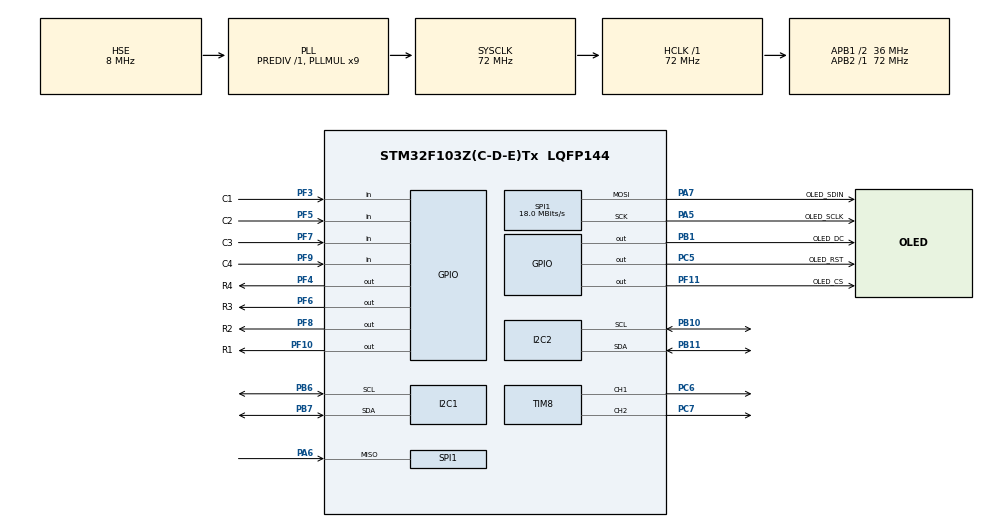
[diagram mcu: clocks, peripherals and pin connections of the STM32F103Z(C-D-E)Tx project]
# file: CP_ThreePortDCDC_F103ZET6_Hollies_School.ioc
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Mcu.Family=STM32F1
Mcu.Name=STM32F103Z(C-D-E)Tx
Mcu.Package=LQFP144
NVIC.PriorityGroup=NVIC_PRIORITYGROUP_4
NVIC.TIM1_UP_IRQn=true\:0\:0\:false\:false\:true\:true\:true\:true
OSC_IN.Mode=HSE-External-Oscillator
OSC_IN.Signal=RCC_OSC_IN
OSC_OUT.Mode=HSE-External-Oscillator
OSC_OUT.Signal=RCC_OSC_OUT
PA13.Mode=Serial_Wire
PA13.Signal=SYS_JTMS-SWDIO
PA14.Mode=Serial_Wire
PA14.Signal=SYS_JTCK-SWCLK
PA5.GPIO_Label=OLED_SCLK
PA5.Mode=Full_Duplex_Master
PA5.Signal=SPI1_SCK
PA6.Mode=Full_Duplex_Master
PA6.Signal=SPI1_MISO
PA7.GPIO_Label=OLED_SDIN
PA7.Mode=Full_Duplex_Master
PA7.Signal=SPI1_MOSI
PB1.GPIO_Label=OLED_DC
PB1.Signal=GPIO_Output
PB10.Mode=I2C
PB10.Signal=I2C2_SCL
PB11.Mode=I2C
PB11.Signal=I2C2_SDA
PB6.Mode=I2C
PB6.Signal=I2C1_SCL
PB7.Mode=I2C
PB7.Signal=I2C1_SDA
PC14-OSC32_IN.Mode=LSE-External-Oscillator
PC14-OSC32_IN.Signal=RCC_OSC32_IN
PC15-OSC32_OUT.Mode=LSE-External-Oscillator
PC15-OSC32_OUT.Signal=RCC_OSC32_OUT
PC5.GPIO_Label=OLED_RST
PC5.Signal=GPIO_Output
PC6.Signal=S_TIM8_CH1
PC7.Signal=S_TIM8_CH2
PF10.GPIO_Label=R1
PF10.Signal=GPIO_Output
PF11.GPIO_Label=OLED_CS
PF11.Signal=GPIO_Output
PF3.GPIO_Label=C1
PF3.GPIO_PuPd=GPIO_PULLUP
PF3.Signal=GPIO_Input
PF4.GPIO_Label=R4
PF4.Signal=GPIO_Output
PF5.GPIO_Label=C2
PF5.GPIO_PuPd=GPIO_PULLUP
PF5.Signal=GPIO_Input
PF6.GPIO_Label=R3
PF6.Signal=GPIO_Output
PF7.GPIO_Label=C3
PF7.GPIO_PuPd=GPIO_PULLUP
PF7.Signal=GPIO_Input
PF8.GPIO_Label=R2
PF8.Signal=GPIO_Output
PF9.GPIO_Label=C4
PF9.GPIO_PuPd=GPIO_PULLUP
PF9.Signal=GPIO_Input
ProjectManager.HeapSize=0x200
ProjectManager.StackSize=0x400
ProjectManager.TargetToolchain=STM32CubeIDE
RCC.AHBFreq_Value=72000000
RCC.APB1CLKDivider=RCC_HCLK_DIV2
RCC.APB1Freq_Value=36000000
RCC.APB1TimFreq_Value=72000000
RCC.APB2Freq_Value=72000000
RCC.APB2TimFreq_Value=72000000
RCC.HCLKFreq_Value=72000000
RCC.PLLMUL=RCC_PLL_MUL9
RCC.PLLSourceVirtual=RCC_PLLSOURCE_HSE
RCC.SYSCLKFreq_VALUE=72000000
RCC.SYSCLKSource=RCC_SYSCLKSOURCE_PLLCLK
RCC.USBFreq_Value=72000000
SH.S_TIM8_CH1.0=TIM8_CH1,PWM Generation1 CH1
SH.S_TIM8_CH2.0=TIM8_CH2,PWM Generation2 CH2
SPI1.BaudRatePrescaler=SPI_BAUDRATEPRESCALER_4
SPI1.CalculateBaudRate=18.0 MBits/s
SPI1.Direction=SPI_DIRECTION_2LINES
SPI1.Mode=SPI_MODE_MASTER
SPI1.VirtualType=VM_MASTER
TIM1.Period=72000000/10000-1
TIM1.Prescaler=500-1
TIM8.Channel-PWM\ Generation1\ CH1=TIM_CHANNEL_1
TIM8.Channel-PWM\ Generation2\ CH2=TIM_CHANNEL_2
TIM8.Period=72000000/20000-1
TIM8.Pulse-PWM\ Generation1\ CH1=1800
TIM8.Pulse-PWM\ Generation2\ CH2=1800
VP_TIM1_VS_ClockSourceINT.Mode=Internal
VP_TIM8_VS_ClockSourceINT.Mode=Internal
board=custom

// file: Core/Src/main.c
/* USER CODE BEGIN Header */
/**
 ******************************************************************************
 * @file           : main.c
 * @brief          : Main program body
 ******************************************************************************
 * @attention
 *
 * Copyright (c) 2023 STMicroelectronics.
 * All rights reserved.
 *
 * This software is licensed under terms that can be found in the LICENSE file
 * in the root directory of this software component.
 * If no LICENSE file comes with this software, it is provided AS-IS.
 *
 ******************************************************************************
 */
/* USER CODE END Header */
#include "main.h"

/* USER CODE BEGIN Includes */
#include "oled_spi.h"
#include "keyboard.h"
#include "pid.h"
#include "stdio.h"
#include "ADS1115.h"
#include "math.h"
/* USER CODE END Includes */

I2C_HandleTypeDef hi2c1;
I2C_HandleTypeDef hi2c2;

SPI_HandleTypeDef hspi1;

TIM_HandleTypeDef htim1;
TIM_HandleTypeDef htim8;

void SystemClock_Config(void);
static void MX_GPIO_Init(void);
static void MX_SPI1_Init(void);
static void MX_TIM1_Init(void);
static void MX_TIM8_Init(void);
static void MX_I2C1_Init(void);
static void MX_I2C2_Init(void);

/* USER CODE BEGIN 0 */
//串口相关变量
uint8_t str_stuff[64] = "0";
uint32_t dma_buffer[1];
//pid变量
//PID_TypeDef pid1;	//电源侧pid
//PID pid2;	//电池侧pid
//ads1115采样值变�???????????
double V1IN = 0, VSIN = 0, VOUT = 0, ERR = 0, Target = 30.0;
//按键功能
void keyboard_function()
{
	switch (KEY_SCAN())
	{
	case 1:
		HAL_TIM_Base_Start_IT(&htim1);
		break;
	case 2:
		break;
	case 3:
		break;
	case 4:
		break;
	case 5:
		break;
	case 6:
		break;
	case 7:
		break;
	case 8:
		break;
	case 9:
		break;
	case 10:
		break;
	case 11:
		Target-=0.5;
		break;
	case 12:
		Target+=0.5;
		break;
	case 13:
		ERR+=0.01;
		break;
	case 14:
		ERR+=0.1;
		break;
	case 15:
		ERR-=0.1;
		break;
	case 16:
		ERR-=0.01;
		break;
	}
}
//显示
void oled_show()
{
	OLED_Clear();
	//电源侧显示当前计数�?�及占空�????????????
	uint32_t i = __HAL_TIM_GET_COMPARE(&htim8, TIM_CHANNEL_1);
	OLED_ShowNum(0, 0, i, 4, 16);
	OLED_ShowNum(40, 0, i * 100.0 / 3600, 4, 16);
	//电池侧显示当前计数�?�及占空�????????????
	i = __HAL_TIM_GET_COMPARE(&htim8, TIM_CHANNEL_2);
	OLED_ShowNum(0, 2, i, 4, 16);
	OLED_ShowNum(40, 2, i * 100.0 / 3600, 4, 16);
	//显示当前采样�????
	OLED_ShowNum(0, 4, V1IN*1000, 5, 16);	//U1
	OLED_ShowNum(0, 6, VOUT*1000, 5, 16);	//Uo
	OLED_ShowNum(50, 6, VSIN*1000, 5, 16);	//Us

}
/* USER CODE END 0 */

int main(void)
{

  /* MCU Configuration--------------------------------------------------------*/

  /* Reset of all peripherals, Initializes the Flash interface and the Systick. */
  HAL_Init();

  /* Configure the system clock */
  SystemClock_Config();

  /* Initialize all configured peripherals */
  MX_GPIO_Init();
  MX_SPI1_Init();
  MX_TIM1_Init();
  MX_TIM8_Init();
  MX_I2C1_Init();
  MX_I2C2_Init();
  /* USER CODE BEGIN 2 */
	HAL_TIM_PWM_Start(&htim8, TIM_CHANNEL_1);
	HAL_TIM_PWM_Start(&htim8, TIM_CHANNEL_2);

	PID_Init();
	OLED_Init();
	OLED_Display_On();
  /* USER CODE END 2 */

  /* Infinite loop */
	while (1)
	{

    /* USER CODE BEGIN 3 */
		keyboard_function();
		oled_show();
		V1IN = (ads1115_get_voltage_val(hi2c1, 0x01, CONFIG0_REG_H,
				CONFIG0_REG_L) * 21.26);
		VSIN = (ads1115_get_voltage_val(hi2c1, 0x01, CONFIG1_REG_H,
				CONFIG1_REG_L) * 21.12);
		VOUT = (ads1115_get_voltage_val(hi2c2, 0x01, CONFIG0_REG_H,
				CONFIG0_REG_L) * 21.39);
	}
  /* USER CODE END 3 */
}

void SystemClock_Config(void)
{
  RCC_OscInitTypeDef RCC_OscInitStruct = {0};
  RCC_ClkInitTypeDef RCC_ClkInitStruct = {0};

  /** Initializes the RCC Oscillators according to the specified parameters
  * in the RCC_OscInitTypeDef structure.
  */
  RCC_OscInitStruct.OscillatorType = RCC_OSCILLATORTYPE_HSE;
  RCC_OscInitStruct.HSEState = RCC_HSE_ON;
  RCC_OscInitStruct.HSEPredivValue = RCC_HSE_PREDIV_DIV1;
  RCC_OscInitStruct.HSIState = RCC_HSI_ON;
  RCC_OscInitStruct.PLL.PLLState = RCC_PLL_ON;
  RCC_OscInitStruct.PLL.PLLSource = RCC_PLLSOURCE_HSE;
  RCC_OscInitStruct.PLL.PLLMUL = RCC_PLL_MUL9;
  if (HAL_RCC_OscConfig(&RCC_OscInitStruct) != HAL_OK)
  {
    Error_Handler();
  }

  /** Initializes the CPU, AHB and APB buses clocks
  */
  RCC_ClkInitStruct.ClockType = RCC_CLOCKTYPE_HCLK|RCC_CLOCKTYPE_SYSCLK
                              |RCC_CLOCKTYPE_PCLK1|RCC_CLOCKTYPE_PCLK2;
  RCC_ClkInitStruct.SYSCLKSource = RCC_SYSCLKSOURCE_PLLCLK;
  RCC_ClkInitStruct.AHBCLKDivider = RCC_SYSCLK_DIV1;
  RCC_ClkInitStruct.APB1CLKDivider = RCC_HCLK_DIV2;
  RCC_ClkInitStruct.APB2CLKDivider = RCC_HCLK_DIV1;

  if (HAL_RCC_ClockConfig(&RCC_ClkInitStruct, FLASH_LATENCY_2) != HAL_OK)
  {
    Error_Handler();
  }
}

static void MX_I2C1_Init(void)
{

  hi2c1.Instance = I2C1;
  hi2c1.Init.ClockSpeed = 100000;
  hi2c1.Init.DutyCycle = I2C_DUTYCYCLE_2;
  hi2c1.Init.OwnAddress1 = 0;
  hi2c1.Init.AddressingMode = I2C_ADDRESSINGMODE_7BIT;
  hi2c1.Init.DualAddressMode = I2C_DUALADDRESS_DISABLE;
  hi2c1.Init.OwnAddress2 = 0;
  hi2c1.Init.GeneralCallMode = I2C_GENERALCALL_DISABLE;
  hi2c1.Init.NoStretchMode = I2C_NOSTRETCH_DISABLE;
  if (HAL_I2C_Init(&hi2c1) != HAL_OK)
  {
    Error_Handler();
  }

}

static void MX_I2C2_Init(void)
{

  hi2c2.Instance = I2C2;
  hi2c2.Init.ClockSpeed = 100000;
  hi2c2.Init.DutyCycle = I2C_DUTYCYCLE_2;
  hi2c2.Init.OwnAddress1 = 0;
  hi2c2.Init.AddressingMode = I2C_ADDRESSINGMODE_7BIT;
  hi2c2.Init.DualAddressMode = I2C_DUALADDRESS_DISABLE;
  hi2c2.Init.OwnAddress2 = 0;
  hi2c2.Init.GeneralCallMode = I2C_GENERALCALL_DISABLE;
  hi2c2.Init.NoStretchMode = I2C_NOSTRETCH_DISABLE;
  if (HAL_I2C_Init(&hi2c2) != HAL_OK)
  {
    Error_Handler();
  }

}

static void MX_SPI1_Init(void)
{

  /* SPI1 parameter configuration*/
  hspi1.Instance = SPI1;
  hspi1.Init.Mode = SPI_MODE_MASTER;
  hspi1.Init.Direction = SPI_DIRECTION_2LINES;
  hspi1.Init.DataSize = SPI_DATASIZE_8BIT;
  hspi1.Init.CLKPolarity = SPI_POLARITY_LOW;
  hspi1.Init.CLKPhase = SPI_PHASE_1EDGE;
  hspi1.Init.NSS = SPI_NSS_SOFT;
  hspi1.Init.BaudRatePrescaler = SPI_BAUDRATEPRESCALER_4;
  hspi1.Init.FirstBit = SPI_FIRSTBIT_MSB;
  hspi1.Init.TIMode = SPI_TIMODE_DISABLE;
  hspi1.Init.CRCCalculation = SPI_CRCCALCULATION_DISABLE;
  hspi1.Init.CRCPolynomial = 10;
  if (HAL_SPI_Init(&hspi1) != HAL_OK)
  {
    Error_Handler();
  }

}

static void MX_TIM1_Init(void)
{

  TIM_ClockConfigTypeDef sClockSourceConfig = {0};
  TIM_MasterConfigTypeDef sMasterConfig = {0};

  htim1.Instance = TIM1;
  htim1.Init.Prescaler = 500-1;
  htim1.Init.CounterMode = TIM_COUNTERMODE_UP;
  htim1.Init.Period = 72000000/10000-1;
  htim1.Init.ClockDivision = TIM_CLOCKDIVISION_DIV1;
  htim1.Init.RepetitionCounter = 0;
  htim1.Init.AutoReloadPreload = TIM_AUTORELOAD_PRELOAD_DISABLE;
  if (HAL_TIM_Base_Init(&htim1) != HAL_OK)
  {
    Error_Handler();
  }
  sClockSourceConfig.ClockSource = TIM_CLOCKSOURCE_INTERNAL;
  if (HAL_TIM_ConfigClockSource(&htim1, &sClockSourceConfig) != HAL_OK)
  {
    Error_Handler();
  }
  sMasterConfig.MasterOutputTrigger = TIM_TRGO_RESET;
  sMasterConfig.MasterSlaveMode = TIM_MASTERSLAVEMODE_DISABLE;
  if (HAL_TIMEx_MasterConfigSynchronization(&htim1, &sMasterConfig) != HAL_OK)
  {
    Error_Handler();
  }

}

static void MX_TIM8_Init(void)
{

  TIM_ClockConfigTypeDef sClockSourceConfig = {0};
  TIM_MasterConfigTypeDef sMasterConfig = {0};
  TIM_OC_InitTypeDef sConfigOC = {0};
  TIM_BreakDeadTimeConfigTypeDef sBreakDeadTimeConfig = {0};

  htim8.Instance = TIM8;
  htim8.Init.Prescaler = 0;
  htim8.Init.CounterMode = TIM_COUNTERMODE_UP;
  htim8.Init.Period = 72000000/20000-1;
  htim8.Init.ClockDivision = TIM_CLOCKDIVISION_DIV1;
  htim8.Init.RepetitionCounter = 0;
  htim8.Init.AutoReloadPreload = TIM_AUTORELOAD_PRELOAD_DISABLE;
  if (HAL_TIM_Base_Init(&htim8) != HAL_OK)
  {
    Error_Handler();
  }
  sClockSourceConfig.ClockSource = TIM_CLOCKSOURCE_INTERNAL;
  if (HAL_TIM_ConfigClockSource(&htim8, &sClockSourceConfig) != HAL_OK)
  {
    Error_Handler();
  }
  if (HAL_TIM_PWM_Init(&htim8) != HAL_OK)
  {
    Error_Handler();
  }
  sMasterConfig.MasterOutputTrigger = TIM_TRGO_RESET;
  sMasterConfig.MasterSlaveMode = TIM_MASTERSLAVEMODE_DISABLE;
  if (HAL_TIMEx_MasterConfigSynchronization(&htim8, &sMasterConfig) != HAL_OK)
  {
    Error_Handler();
  }
  sConfigOC.OCMode = TIM_OCMODE_PWM1;
  sConfigOC.Pulse = 1800;
  sConfigOC.OCPolarity = TIM_OCPOLARITY_HIGH;
  sConfigOC.OCNPolarity = TIM_OCNPOLARITY_HIGH;
  sConfigOC.OCFastMode = TIM_OCFAST_DISABLE;
  sConfigOC.OCIdleState = TIM_OCIDLESTATE_RESET;
  sConfigOC.OCNIdleState = TIM_OCNIDLESTATE_RESET;
  if (HAL_TIM_PWM_ConfigChannel(&htim8, &sConfigOC, TIM_CHANNEL_1) != HAL_OK)
  {
    Error_Handler();
  }
  if (HAL_TIM_PWM_ConfigChannel(&htim8, &sConfigOC, TIM_CHANNEL_2) != HAL_OK)
  {
    Error_Handler();
  }
  sBreakDeadTimeConfig.OffStateRunMode = TIM_OSSR_DISABLE;
  sBreakDeadTimeConfig.OffStateIDLEMode = TIM_OSSI_DISABLE;
  sBreakDeadTimeConfig.LockLevel = TIM_LOCKLEVEL_OFF;
  sBreakDeadTimeConfig.DeadTime = 0;
  sBreakDeadTimeConfig.BreakState = TIM_BREAK_DISABLE;
  sBreakDeadTimeConfig.BreakPolarity = TIM_BREAKPOLARITY_HIGH;
  sBreakDeadTimeConfig.AutomaticOutput = TIM_AUTOMATICOUTPUT_DISABLE;
  if (HAL_TIMEx_ConfigBreakDeadTime(&htim8, &sBreakDeadTimeConfig) != HAL_OK)
  {
    Error_Handler();
  }
  HAL_TIM_MspPostInit(&htim8);

}

static void MX_GPIO_Init(void)
{
  GPIO_InitTypeDef GPIO_InitStruct = {0};

  /* GPIO Ports Clock Enable */
  __HAL_RCC_GPIOC_CLK_ENABLE();
  __HAL_RCC_GPIOF_CLK_ENABLE();
  __HAL_RCC_GPIOA_CLK_ENABLE();
  __HAL_RCC_GPIOB_CLK_ENABLE();

  /*Configure GPIO pin Output Level */
  HAL_GPIO_WritePin(GPIOF, R4_Pin|R3_Pin|R2_Pin|R1_Pin
                          |OLED_CS_Pin, GPIO_PIN_RESET);

  /*Configure GPIO pin Output Level */
  HAL_GPIO_WritePin(OLED_RST_GPIO_Port, OLED_RST_Pin, GPIO_PIN_RESET);

  /*Configure GPIO pin Output Level */
  HAL_GPIO_WritePin(OLED_DC_GPIO_Port, OLED_DC_Pin, GPIO_PIN_RESET);

  /*Configure GPIO pins : C1_Pin C2_Pin C3_Pin C4_Pin */
  GPIO_InitStruct.Pin = C1_Pin|C2_Pin|C3_Pin|C4_Pin;
  GPIO_InitStruct.Mode = GPIO_MODE_INPUT;
  GPIO_InitStruct.Pull = GPIO_PULLUP;
  HAL_GPIO_Init(GPIOF, &GPIO_InitStruct);

  /*Configure GPIO pins : R4_Pin R3_Pin R2_Pin R1_Pin
                           OLED_CS_Pin */
  GPIO_InitStruct.Pin = R4_Pin|R3_Pin|R2_Pin|R1_Pin
                          |OLED_CS_Pin;
  GPIO_InitStruct.Mode = GPIO_MODE_OUTPUT_PP;
  GPIO_InitStruct.Pull = GPIO_NOPULL;
  GPIO_InitStruct.Speed = GPIO_SPEED_FREQ_LOW;
  HAL_GPIO_Init(GPIOF, &GPIO_InitStruct);

  /*Configure GPIO pin : OLED_RST_Pin */
  GPIO_InitStruct.Pin = OLED_RST_Pin;
  GPIO_InitStruct.Mode = GPIO_MODE_OUTPUT_PP;
  GPIO_InitStruct.Pull = GPIO_NOPULL;
  GPIO_InitStruct.Speed = GPIO_SPEED_FREQ_LOW;
  HAL_GPIO_Init(OLED_RST_GPIO_Port, &GPIO_InitStruct);

  /*Configure GPIO pin : OLED_DC_Pin */
  GPIO_InitStruct.Pin = OLED_DC_Pin;
  GPIO_InitStruct.Mode = GPIO_MODE_OUTPUT_PP;
  GPIO_InitStruct.Pull = GPIO_NOPULL;
  GPIO_InitStruct.Speed = GPIO_SPEED_FREQ_LOW;
  HAL_GPIO_Init(OLED_DC_GPIO_Port, &GPIO_InitStruct);

}

/* USER CODE BEGIN 4 */
void HAL_TIM_PeriodElapsedCallback(TIM_HandleTypeDef *htim)
{
	if (htim->Instance == TIM1)
	{
		//电源�????????????
//		if(TIM8->CCR2 - Incremental_PID(&PID_V, VOUT, 30.0) <= 3500&&TIM8->CCR2 - Incremental_PID(&PID_V, VOUT, 30.0) >= 100)//�??30V
		if(fabs(VOUT+ERR-Target)>0.01)
			TIM8->CCR2 -= Incremental_PID(&PID_V, VOUT+ERR, Target);
		//电池�????????????
//		if(TIM8->CCR1 <=3500 && TIM8->CCR1 >= 100 )//MPPT
		if(fabs(V1IN-VSIN/2.0)>0.05)
		    TIM8->CCR1 += Incremental_PID(&MPPT_V, V1IN,VSIN/2.0) ;
	}
}
/* USER CODE END 4 */

void Error_Handler(void)
{
	__disable_irq();
	while (1)
	{
	}
}
